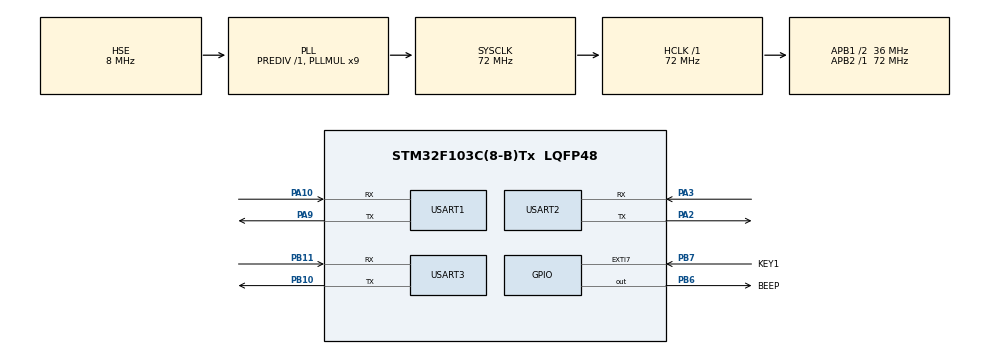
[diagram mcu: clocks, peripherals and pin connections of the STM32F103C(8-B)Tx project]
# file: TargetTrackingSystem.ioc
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FREERTOS.Tasks01=defaultTask,24,128,StartDefaultTask,Default,NULL,Dynamic,NULL,NULL;trackingTask,24,512,TrackingTask,Default,NULL,Dynamic,NULL,NULL
Mcu.Family=STM32F1
Mcu.Name=STM32F103C(8-B)Tx
Mcu.Package=LQFP48
NVIC.EXTI9_5_IRQn=true\:5\:0\:false\:false\:true\:true\:true\:true
NVIC.PriorityGroup=NVIC_PRIORITYGROUP_4
NVIC.TIM4_IRQn=true\:15\:0\:false\:false\:true\:false\:false\:true
NVIC.TimeBase=TIM4_IRQn
NVIC.TimeBaseIP=TIM4
NVIC.USART1_IRQn=true\:5\:0\:false\:false\:true\:true\:true\:true
NVIC.USART2_IRQn=true\:0\:0\:true\:false\:true\:false\:true\:true
NVIC.USART3_IRQn=true\:0\:0\:false\:false\:true\:false\:true\:true
PA10.Mode=Asynchronous
PA10.Signal=USART1_RX
PA13.Mode=Serial_Wire
PA13.Signal=SYS_JTMS-SWDIO
PA14.Mode=Serial_Wire
PA14.Signal=SYS_JTCK-SWCLK
PA2.Mode=Asynchronous
PA2.Signal=USART2_TX
PA3.Mode=Asynchronous
PA3.Signal=USART2_RX
PA9.Mode=Asynchronous
PA9.Signal=USART1_TX
PB10.Mode=Asynchronous
PB10.Signal=USART3_TX
PB11.Mode=Asynchronous
PB11.Signal=USART3_RX
PB6.GPIO_Label=BEEP
PB6.GPIO_PuPd=GPIO_PULLDOWN
PB6.Signal=GPIO_Output
PB7.GPIO_Label=KEY1
PB7.GPIO_ModeDefaultEXTI=GPIO_MODE_IT_RISING_FALLING
PB7.GPIO_PuPd=GPIO_PULLUP
PB7.Signal=GPXTI7
PD0-OSC_IN.Mode=HSE-External-Oscillator
PD0-OSC_IN.Signal=RCC_OSC_IN
PD1-OSC_OUT.Mode=HSE-External-Oscillator
PD1-OSC_OUT.Signal=RCC_OSC_OUT
ProjectManager.HeapSize=0x200
ProjectManager.StackSize=0x400
ProjectManager.TargetToolchain=STM32CubeIDE
RCC.AHBFreq_Value=72000000
RCC.APB1CLKDivider=RCC_HCLK_DIV2
RCC.APB1Freq_Value=36000000
RCC.APB1TimFreq_Value=72000000
RCC.APB2Freq_Value=72000000
RCC.APB2TimFreq_Value=72000000
RCC.HCLKFreq_Value=72000000
RCC.PLLMUL=RCC_PLL_MUL9
RCC.PLLSourceVirtual=RCC_PLLSOURCE_HSE
RCC.SYSCLKFreq_VALUE=72000000
RCC.SYSCLKSource=RCC_SYSCLKSOURCE_PLLCLK
RCC.USBFreq_Value=72000000
USART1.VirtualMode=VM_ASYNC
USART2.VirtualMode=VM_ASYNC
USART3.VirtualMode=VM_ASYNC
VP_FREERTOS_VS_CMSIS_V2.Mode=CMSIS_V2
VP_SYS_VS_tim4.Mode=TIM4
board=custom

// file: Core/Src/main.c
/* USER CODE BEGIN Header */
/**
  ******************************************************************************
  * @file           : main.c
  * @brief          : Main program body
  ******************************************************************************
  * @attention
  *
  * Copyright (c) 2023 STMicroelectronics.
  * All rights reserved.
  *
  * This software is licensed under terms that can be found in the LICENSE file
  * in the root directory of this software component.
  * If no LICENSE file comes with this software, it is provided AS-IS.
  *
  ******************************************************************************
  */
/* USER CODE END Header */
#include "main.h"
#include "cmsis_os.h"
#include "usart.h"
#include "gpio.h"

/* USER CODE BEGIN Includes */

#include "servo.h"
#include "screen.h"

/* USER CODE END Includes */

void SystemClock_Config(void);
void MX_FREERTOS_Init(void);

int main(void)
{

  /* MCU Configuration--------------------------------------------------------*/

  /* Reset of all peripherals, Initializes the Flash interface and the Systick. */
  HAL_Init();

  /* Configure the system clock */
  SystemClock_Config();

  /* Initialize all configured peripherals */
  MX_GPIO_Init();
  MX_USART1_UART_Init();
  MX_USART2_UART_Init();
  MX_USART3_UART_Init();

  /* Init scheduler */
  osKernelInitialize();  /* Call init function for freertos objects (in freertos.c) */
  MX_FREERTOS_Init();
  /* Start scheduler */
  osKernelStart();

  /* We should never get here as control is now taken by the scheduler */
  /* Infinite loop */
  while (1)
  {

  }
}

void SystemClock_Config(void)
{
  RCC_OscInitTypeDef RCC_OscInitStruct = {0};
  RCC_ClkInitTypeDef RCC_ClkInitStruct = {0};

  /** Initializes the RCC Oscillators according to the specified parameters
  * in the RCC_OscInitTypeDef structure.
  */
  RCC_OscInitStruct.OscillatorType = RCC_OSCILLATORTYPE_HSE;
  RCC_OscInitStruct.HSEState = RCC_HSE_ON;
  RCC_OscInitStruct.HSEPredivValue = RCC_HSE_PREDIV_DIV1;
  RCC_OscInitStruct.HSIState = RCC_HSI_ON;
  RCC_OscInitStruct.PLL.PLLState = RCC_PLL_ON;
  RCC_OscInitStruct.PLL.PLLSource = RCC_PLLSOURCE_HSE;
  RCC_OscInitStruct.PLL.PLLMUL = RCC_PLL_MUL9;
  if (HAL_RCC_OscConfig(&RCC_OscInitStruct) != HAL_OK)
  {
    Error_Handler();
  }
  /** Initializes the CPU, AHB and APB buses clocks
  */
  RCC_ClkInitStruct.ClockType = RCC_CLOCKTYPE_HCLK|RCC_CLOCKTYPE_SYSCLK
                              |RCC_CLOCKTYPE_PCLK1|RCC_CLOCKTYPE_PCLK2;
  RCC_ClkInitStruct.SYSCLKSource = RCC_SYSCLKSOURCE_PLLCLK;
  RCC_ClkInitStruct.AHBCLKDivider = RCC_SYSCLK_DIV1;
  RCC_ClkInitStruct.APB1CLKDivider = RCC_HCLK_DIV2;
  RCC_ClkInitStruct.APB2CLKDivider = RCC_HCLK_DIV1;

  if (HAL_RCC_ClockConfig(&RCC_ClkInitStruct, FLASH_LATENCY_2) != HAL_OK)
  {
    Error_Handler();
  }
}

void HAL_TIM_PeriodElapsedCallback(TIM_HandleTypeDef *htim)
{
  if (htim->Instance == TIM4) {
    HAL_IncTick();
  }
}

void Error_Handler(void)
{
  __disable_irq();
  while (1)
  {
  }
}

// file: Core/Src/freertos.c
/* USER CODE BEGIN Header */
/**
  ******************************************************************************
  * File Name          : freertos.c
  * Description        : Code for freertos applications
  ******************************************************************************
  * @attention
  *
  * Copyright (c) 2023 STMicroelectronics.
  * All rights reserved.
  *
  * This software is licensed under terms that can be found in the LICENSE file
  * in the root directory of this software component.
  * If no LICENSE file comes with this software, it is provided AS-IS.
  *
  ******************************************************************************
  */
/* USER CODE END Header */

#include "FreeRTOS.h"
#include "task.h"
#include "main.h"
#include "cmsis_os.h"

/* USER CODE BEGIN Includes */

#include "screen.h"
#include "servo.h"
#include "usart.h"s
#include "string.h"
#include "stdio.h"

/* USER CODE END Includes */

/* Definitions for defaultTask */
osThreadId_t defaultTaskHandle;
const osThreadAttr_t defaultTask_attributes = {
  .name = "defaultTask",
  .stack_size = 128 * 4,
  .priority = (osPriority_t) osPriorityNormal,
};
/* Definitions for trackingTask */
osThreadId_t trackingTaskHandle;
const osThreadAttr_t trackingTask_attributes = {
  .name = "trackingTask",
  .stack_size = 512 * 4,
  .priority = (osPriority_t) osPriorityNormal,
};

/* USER CODE BEGIN FunctionPrototypes */

volatile int mvUpdateTick = 0;
struct Point mvRecvPoint;
struct Point mvRectA;
struct Point mvRectB;
struct Point mvRectC;
struct Point mvRectD;

void Debug(char* msg)
{
    HAL_UART_Transmit(&huart1, msg, strlen(msg), 100);
}

void HandleOpenMVPackage(int cmd, uint8_t* data, int dataLen)
{
    switch (cmd) {
        case 1:
            mvUpdateTick += 1;
            mvRecvPoint.x = (int16_t)(((uint16_t)data[0] << 8) | (uint16_t)data[1]);
            mvRecvPoint.y = (int16_t)(((uint16_t)data[2] << 8) | (uint16_t)data[3]);
            break;
        case 2:
            mvUpdateTick += 1;
            mvRectA.x = (int16_t)(((uint16_t)data[0] << 8) | (uint16_t)data[1]);
            mvRectA.y = (int16_t)(((uint16_t)data[2] << 8) | (uint16_t)data[3]);
            mvRectB.x = (int16_t)(((uint16_t)data[4] << 8) | (uint16_t)data[5]);
            mvRectB.y = (int16_t)(((uint16_t)data[6] << 8) | (uint16_t)data[7]);
            mvRectC.x = (int16_t)(((uint16_t)data[8] << 8) | (uint16_t)data[9]);
            mvRectC.y = (int16_t)(((uint16_t)data[10] << 8) | (uint16_t)data[11]);
            mvRectD.x = (int16_t)(((uint16_t)data[12] << 8) | (uint16_t)data[13]);
            mvRectD.y = (int16_t)(((uint16_t)data[14] << 8) | (uint16_t)data[15]);
            break;
        case 3:
            mvUpdateTick += 1;
            mvRectA.x = (int16_t)(((uint16_t)data[0] << 8) | (uint16_t)data[1]);
            mvRectA.y = (int16_t)(((uint16_t)data[2] << 8) | (uint16_t)data[3]);
            mvRectB.x = (int16_t)(((uint16_t)data[4] << 8) | (uint16_t)data[5]);
            mvRectB.y = (int16_t)(((uint16_t)data[6] << 8) | (uint16_t)data[7]);
            break;
    }
}

//检查通用串口传输数据包
void CheckUartTransmitPackage(uint8_t* data, int* offset)
{
    if (*offset < 4) return ;
    if (data[0] != 0x12 || data[1] != 0x34) { //不是帧头，则左移一字节
        for (int i = 0; i < *offset - 1; ++i) {
            data[i] = data[i + 1];
        }
        *offset -= 1;
        return ;
    }
    //是帧头
    int dataLen = data[2];
    int cmd = data[3];
    uint8_t* messageData = data + 4;
    if (*offset >= dataLen + 4) {
        HandleOpenMVPackage(cmd, messageData, dataLen);
        *offset = 0;
    }
}

void HAL_UART_RxCpltCallback(UART_HandleTypeDef* huart)
{
    static uint8_t uart2RecvBuff[1] = {};
    static uint8_t uart2Buff[128] = {};
    static int uart2Offset = 0;

    if (huart->Instance == USART2) { //openmv接口

        uart2Buff[uart2Offset++] = uart2RecvBuff[0];
        CheckUartTransmitPackage(uart2Buff, &uart2Offset);
        HAL_UART_Receive_IT(huart, uart2RecvBuff, 1);
    }
}

void EchoModeSelectOk()
{
    HAL_GPIO_WritePin(BEEP_GPIO_Port, BEEP_Pin, GPIO_PIN_SET);
    osDelay(100);
    HAL_GPIO_WritePin(BEEP_GPIO_Port, BEEP_Pin, GPIO_PIN_RESET);
}

/* USER CODE END FunctionPrototypes */

void StartDefaultTask(void *argument);
void TrackingTask(void *argument);

void MX_FREERTOS_Init(void); /* (MISRA C 2004 rule 8.1) */

void MX_FREERTOS_Init(void) {

  /* Create the thread(s) */
  /* creation of defaultTask */
  defaultTaskHandle = osThreadNew(StartDefaultTask, NULL, &defaultTask_attributes);

  /* creation of trackingTask */
  trackingTaskHandle = osThreadNew(TrackingTask, NULL, &trackingTask_attributes);

}

void StartDefaultTask(void *argument)
{
  for(;;)
  {
    osDelay(1);
  }
}

/* USER CODE BEGIN Header_TrackingTask */

enum OPENMV_CMD
{
    OPENMV_CMD_STOP = 0x00,
    OPENMV_CMD_DETECT_RED_LASER = 0x01,
    OPENMV_CMD_DETECT_RECT = 0x02,
    OPENMV_CMD_DETECT_TWO_LASER = 0x03,
};

void OpenMVSendCMD(uint8_t cmd)
{
    HAL_UART_Transmit(&huart2, &cmd, 1, 100);
}

struct PIDHandleDef
{
    double kp;
    double ki;
    double kd;
    double input;
    double target;
    double output;
    double error;
    double lastError;
    double lastError2;
};

double PIDTick(struct PIDHandleDef* pid)
{
    pid->lastError2 = pid->lastError;
    pid->lastError = pid->error;
    pid->error = pid->target - pid->input;

    pid->output = pid->kp * (pid->error - pid->lastError) +
                  pid->ki * (pid->error) +
                  pid->kd * (pid->error - 2 * pid->lastError + pid->lastError2);
    return pid->output;
}

/**
* @brief Function implementing the trackingTask thread.
* @param argument: Not used
* @retval None
*/
/* USER CODE END Header_TrackingTask */
void TrackingTask(void *argument)
{
  /* USER CODE BEGIN TrackingTask */
    osDelay(1000);

    uint8_t fffff;
    HAL_UART_Receive_IT(&huart2, &fffff, 1);

    OpenMVSendCMD(OPENMV_CMD_DETECT_TWO_LASER);

    UpdateScreen();

    HAL_GPIO_WritePin(BEEP_GPIO_Port, BEEP_Pin, GPIO_PIN_SET);
    osDelay(1000);
    HAL_GPIO_WritePin(BEEP_GPIO_Port, BEEP_Pin, GPIO_PIN_RESET);

    HAL_GPIO_WritePin(BEEP_GPIO_Port, BEEP_Pin, GPIO_PIN_SET);
    osDelay(50);
    HAL_GPIO_WritePin(BEEP_GPIO_Port, BEEP_Pin, GPIO_PIN_RESET);
    osDelay(50);
    HAL_GPIO_WritePin(BEEP_GPIO_Port, BEEP_Pin, GPIO_PIN_SET);
    osDelay(50);
    HAL_GPIO_WritePin(BEEP_GPIO_Port, BEEP_Pin, GPIO_PIN_RESET);
    osDelay(50);
    HAL_GPIO_WritePin(BEEP_GPIO_Port, BEEP_Pin, GPIO_PIN_SET);
    osDelay(50);
    HAL_GPIO_WritePin(BEEP_GPIO_Port, BEEP_Pin, GPIO_PIN_RESET);

    osDelay(500);

    volatile int tick = mvUpdateTick;
    osDelay(100);

    int bxLast = SCREEN_SERVO_ORIGIN_X, byLast = SCREEN_SERVO_ORIGIN_Y;

    struct PIDHandleDef pidX = {};
    struct PIDHandleDef pidY = {};
    pidX.kp = 0.1; pidX.ki = 0.09; pidX.kd = 0.1;
    pidY.kp = 0.1; pidY.ki = 0.09; pidY.kd = 0.1;

  /* Infinite loop */
  for(;;)
  {
      if (tick != mvUpdateTick) {
          tick = mvUpdateTick;
          int ax = mvRectA.x, ay = mvRectA.y;
          if (ax == 0 && ay == 0) {
              osDelay(1);
              continue;
          }
          int bx = mvRectB.x, by = mvRectB.y;
          if (bx == 0 && by == 0) {
              bx = bxLast; by = byLast;
          }
          bxLast = bx; byLast = by;

          pidX.input = bx; pidX.target = ax;
          pidY.input = by; pidY.target = ay;
          servoXPos += PIDTick(&pidX);
          servoYPos += PIDTick(&pidY);

          UpdateScreen();

      }
    osDelay(1);
  }
  /* USER CODE END TrackingTask */
}
